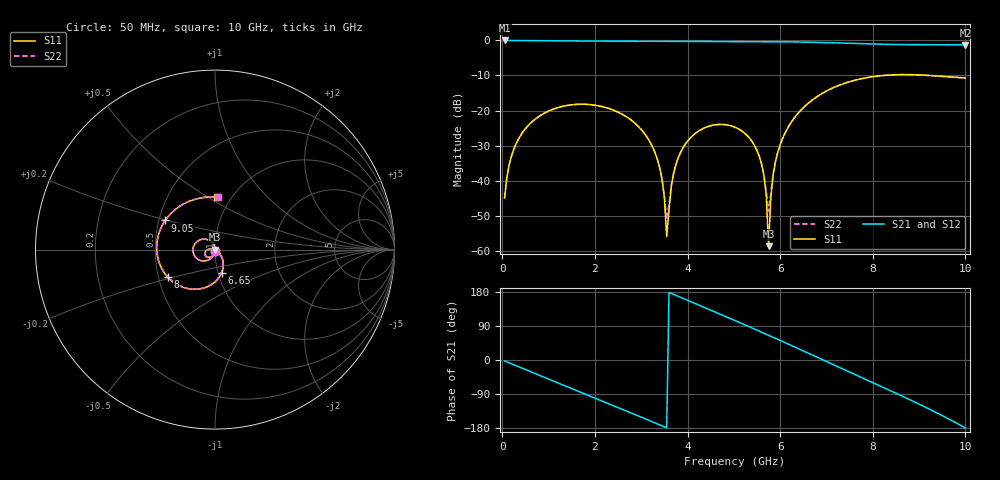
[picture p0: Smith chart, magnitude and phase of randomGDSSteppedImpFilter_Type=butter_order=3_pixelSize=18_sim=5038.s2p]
! freq	dB(S11)	phase(S11)	dB(S12)	phase(S12)
!  dB(S21)	phase(S21)	dB(S22)	phase(S22)
!S-par simulation data
#  GHz  S  DB  R 50
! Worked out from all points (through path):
!   200 points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, 50 MHz to 10 GHz, reference 50 ohm
!   highest |S21| = -0.01 dB at 50 MHz (marker M1); lowest = -1.3 dB at 10 GHz (marker M2)
!   group delay of S21, straight-line fit = 148 ps
!   lowest |S11| = -58.7 dB at 5.75 GHz (marker M3), VSWR 1.00, Z = 50 - j0.113 ohm
!   |S11| at or under -10 dB: start of sweep to 8.229 GHz; 9.229 GHz to end of sweep
!   |S22| runs from -51.0 to -9.7 dB; largest |S21 - S12| = 0
!   S11 on the Smith chart (normalised r, x): 50 MHz: 1.00, -0.01; 6.65 GHz: 1.04, -0.27; 8 GHz: 0.56, -0.19; 9.05 GHz: 0.54, +0.20; 10 GHz: 0.86, +0.55
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0.05  -44.91 -91.8  -0.01 -2.6  -0.01 -2.6  -44.91 -91.8
0.2  -32.90 -99.8  -0.02 -10.2  -0.02 -10.2  -32.90 -99.8
0.5  -25.18 -115.3  -0.04 -25.3  -0.04 -25.3  -25.18 -115.3
1.75  -18.20 -178.6  -0.17 -87.7  -0.17 -87.7  -18.20 -178.8
2.85  -23.45 125.8  -0.19 -143.1  -0.19 -143.1  -23.45 124.8
3.4  -36.40 95.4  -0.22 -171.3  -0.22 -171.3  -36.32 89.5
3.5  -44.99 84.9  -0.22 -176.5  -0.22 -176.5  -44.35 68.9
3.55  -55.98 30.6  -0.23 -179.1  -0.23 -179.1  -51.04 17.9
3.7  -37.91 -93.6  -0.24 173.2  -0.24 173.2  -37.74 -85.8
3.95  -29.64 -108.6  -0.26 160.2  -0.26 160.2  -29.61 -105.3
5.05  -24.90 -166.2  -0.35 102.7  -0.35 102.7  -24.88 -163.6
5.6  -35.39 166.2  -0.37 73.4  -0.37 73.4  -35.20 175.2
5.7  -44.29 164.9  -0.37 68.0  -0.37 68.0  -43.09 -171.9
5.75  -58.68 -104.4  -0.37 65.2  -0.37 65.2  -48.83 -117.1
5.8  -44.58 -33.7  -0.38 62.5  -0.38 62.5  -43.34 -58.6
5.95  -31.88 -36.4  -0.39 54.3  -0.39 54.3  -31.81 -42.7
6.65  -17.45 -73.9  -0.51 15.5  -0.51 15.5  -17.44 -75.1
6.7  -16.93 -76.7  -0.53 12.8  -0.53 12.8  -16.93 -77.8
8  -10.35 -149.4  -1.02 -59.6  -1.02 -59.6  -10.35 -149.9
8.35  -9.88 -169.3  -1.12 -79.2  -1.12 -79.2  -9.88 -169.7
9.05  -9.86 149.6  -1.22 -119.4  -1.22 -119.4  -9.86 149.2
10  -10.69 87.6  -1.26 -179.4  -1.26 -179.4  -10.69 87.0
